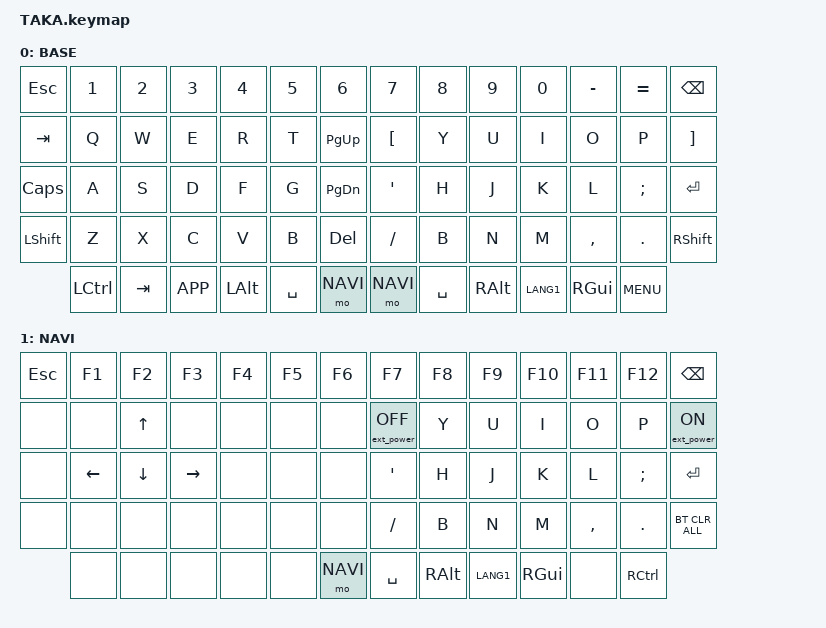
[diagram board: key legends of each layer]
/*
 * Copyright (c) 2022 The ZMK Contributors
 *
 * SPDX-License-Identifier: MIT
 */

#include <behaviors.dtsi>
#include <dt-bindings/zmk/keys.h>
#include <dt-bindings/zmk/bt.h>
#include <dt-bindings/zmk/outputs.h>
#include <dt-bindings/zmk/ext_power.h>

#define BASE 0
#define NAVI 1

/ {
        keymap {
                compatible = "zmk,keymap";
// ▄▄▄▄▄▄▄▄▄▄▄▄▄▄▄▄▄▄▄▄▄▄▄▄▄▄▄▄▄▄▄▄▄▄▄▄▄▄▄▄▄▄▄▄▄▄▄▄▄▄▄▄▄▄▄▄▄▄▄▄▄▄▄▄▄▄▄▄▄▄▄▄▄▄▄▄▄▄▄▄▄▄▄▄▄▄▄▄▄▄▄▄▄▄▄▄▄▄▄▄▄▄▄▄▄▄▄▄▄▄▄▄▄▄▄▄▄▄▄▄▄▄▄▄▄▄▄▄▄▄▄▄▄▄▄▄▄▄▄▄▄▄▄▄▄▄▄▄▄

                base_layer {
// ┏━━━━━━━━━━━━━━━━━━━━━━━━━━━━━━━━━━━━━━━┓
label= "BASE"                              ;
// ┗━━━━━━━━━━━━━━━━━━━━━━━━━━━━━━━━━━━━━━━┛
// ┏━━━━━━━━━━━┳━━━━━━━━━━━┳━━━━━━━━━━━┳━━━━━━━━━━━┳━━━━━━━━━━━┳━━━━━━━━━━━┳━━━━━━━━━━━┓      ┏━━━━━━━━━━━┳━━━━━━━━━━━┳━━━━━━━━━━━┳━━━━━━━━━━━┳━━━━━━━━━━━┳━━━━━━━━━━━┳━━━━━━━━━━━┓
// ┃    ESC    ┃     1     ┃     2     ┃     3     ┃     4     ┃     5     ┃     6     ┃      ┃     7     ┃     8     ┃     9     ┃     0     ┃     -     ┃     =     ┃    BSPC   ┃
// ┣━━━━━━━━━━━╋━━━━━━━━━━━╋━━━━━━━━━━━╋━━━━━━━━━━━╋━━━━━━━━━━━╋━━━━━━━━━━━╋━━━━━━━━━━━┫      ┣━━━━━━━━━━━╋━━━━━━━━━━━╋━━━━━━━━━━━╋━━━━━━━━━━━╋━━━━━━━━━━━╋━━━━━━━━━━━╋━━━━━━━━━━━┫
// ┃    TAB    ┃     Q     ┃     W     ┃     E     ┃     R     ┃     T     ┃   PG_UP   ┃      ┃     [     ┃     Y     ┃     U     ┃     I     ┃     O     ┃     P     ┃     ]     ┃
// ┣━━━━━━━━━━━╋━━━━━━━━━━━╋━━━━━━━━━━━╋━━━━━━━━━━━╋━━━━━━━━━━━╋━━━━━━━━━━━╋━━━━━━━━━━━┫      ┣━━━━━━━━━━━╋━━━━━━━━━━━╋━━━━━━━━━━━╋━━━━━━━━━━━╋━━━━━━━━━━━╋━━━━━━━━━━━╋━━━━━━━━━━━┫
// ┃    CAPS   ┃     A     ┃     S     ┃     D     ┃     F     ┃     G     ┃   PG_DN   ┃      ┃     '     ┃     H     ┃     J     ┃     K     ┃     L     ┃     ;     ┃   ENTER   ┃
// ┣━━━━━━━━━━━╋━━━━━━━━━━━╋━━━━━━━━━━━╋━━━━━━━━━━━╋━━━━━━━━━━━╋━━━━━━━━━━━╋━━━━━━━━━━━┫      ┣━━━━━━━━━━━╋━━━━━━━━━━━╋━━━━━━━━━━━╋━━━━━━━━━━━╋━━━━━━━━━━━╋━━━━━━━━━━━╋━━━━━━━━━━━┫
// ┃   LSHIFT  ┃     Z     ┃     X     ┃     C     ┃     V     ┃     B     ┃    DEL    ┃      ┃     /     ┃     B     ┃     N     ┃     M     ┃     ,     ┃     .     ┃   RSHIFT  ┃
// ┗━━━━━━━━━━━╋━━━━━━━━━━━╋━━━━━━━━━━━╋━━━━━━━━━━━╋━━━━━━━━━━━╋━━━━━━━━━━━╋━━━━━━━━━━━┫      ┣━━━━━━━━━━━╋━━━━━━━━━━━╋━━━━━━━━━━━╋━━━━━━━━━━━╋━━━━━━━━━━━╋━━━━━━━━━━━╋━━━━━━━━━━━┛
//             ┃   LCTRL   ┃    TAB    ┃    K_APP  ┃   LALT    ┃   SPACE   ┃   LAYER   ┃      ┃   LAYER   ┃   SPACE   ┃   RALT    ┃   LANG1   ┃   RGUI    ┃   K_MENU  ┃
//             ┗━━━━━━━━━━━┻━━━━━━━━━━━┻━━━━━━━━━━━┻━━━━━━━━━━━┻━━━━━━━━━━━┻━━━━━━━━━━━┛      ┗━━━━━━━━━━━┻━━━━━━━━━━━┻━━━━━━━━━━━┻━━━━━━━━━━━┻━━━━━━━━━━━┻━━━━━━━━━━━┛
 bindings = <
// ╷           ╷           ╷           ╷           ╷           ╷           ╷           ╷      ╷           ╷           ╷           ╷           ╷           ╷           ╷           ╷

    &kp ESCAPE  &kp N1      &kp N2      &kp N3      &kp N4      &kp N5      &kp N6             &kp N7      &kp N8      &kp N9      &kp N0      &kp MINUS   &kp EQUAL   &kp BSPC
    &kp TAB     &kp Q       &kp W       &kp E       &kp R       &kp T       &kp PG_UP          &kp LBKT    &kp Y       &kp U       &kp I       &kp O       &kp P       &kp RBKT    
    &kp CAPS    &kp A       &kp S       &kp D       &kp F       &kp G       &kp PG_DN          &kp SQT     &kp H       &kp J       &kp K       &kp L       &kp SEMI    &kp ENTER
    &kp LSHIFT  &kp Z       &kp X       &kp C       &kp V       &kp B       &kp DEL            &kp SLASH   &kp B       &kp N       &kp M       &kp COMMA   &kp DOT     &kp RSHIFT
                &kp LCTRL   &kp TAB     &kp K_APP   &kp LALT    &kp SPACE   &mo NAVI           &mo NAVI    &kp SPACE   &kp RALT    &kp LANG1   &kp RGUI    &kp K_MENU
                        >;
                };

// ▄▄▄▄▄▄▄▄▄▄▄▄▄▄▄▄▄▄▄▄▄▄▄▄▄▄▄▄▄▄▄▄▄▄▄▄▄▄▄▄▄▄▄▄▄▄▄▄▄▄▄▄▄▄▄▄▄▄▄▄▄▄▄▄▄▄▄▄▄▄▄▄▄▄▄▄▄▄▄▄▄▄▄▄▄▄▄▄▄▄▄▄▄▄▄▄▄▄▄▄▄▄▄▄▄▄▄▄▄▄▄▄▄▄▄▄▄▄▄▄▄▄▄▄▄▄▄▄▄▄▄▄▄▄▄▄▄▄▄▄▄▄▄▄▄▄▄▄▄


                nav_layer {
// ┏━━━━━━━━━━━━━━━━━━━━━━━━━━━━━━━━━━━━━━━┓
label= "NAVI"                              ;
// ┗━━━━━━━━━━━━━━━━━━━━━━━━━━━━━━━━━━━━━━━┛
// ┏━━━━━━━━━━━┳━━━━━━━━━━━┳━━━━━━━━━━━┳━━━━━━━━━━━┳━━━━━━━━━━━┳━━━━━━━━━━━┳━━━━━━━━━━━┓      ┏━━━━━━━━━━━┳━━━━━━━━━━━┳━━━━━━━━━━━┳━━━━━━━━━━━┳━━━━━━━━━━━┳━━━━━━━━━━━┳━━━━━━━━━━━┓
// ┃    ESC    ┃    F1     ┃    F2     ┃    F3     ┃    F4     ┃    F5     ┃    F6     ┃      ┃    F7     ┃    F8     ┃    F9     ┃    F10    ┃    F11    ┃    F12    ┃    BSPC   ┃
// ┣━━━━━━━━━━━╋━━━━━━━━━━━╋━━━━━━━━━━━╋━━━━━━━━━━━╋━━━━━━━━━━━╋━━━━━━━━━━━╋━━━━━━━━━━━┫      ┣━━━━━━━━━━━╋━━━━━━━━━━━╋━━━━━━━━━━━╋━━━━━━━━━━━╋━━━━━━━━━━━╋━━━━━━━━━━━╋━━━━━━━━━━━┫
// ┃    TAB    ┃     Q     ┃     UP    ┃     E     ┃     R     ┃     T     ┃   PG_UP   ┃      ┃   EP_OFF  ┃     Y     ┃     U     ┃     I     ┃     O     ┃     P     ┃   EP_ON   ┃
// ┣━━━━━━━━━━━╋━━━━━━━━━━━╋━━━━━━━━━━━╋━━━━━━━━━━━╋━━━━━━━━━━━╋━━━━━━━━━━━╋━━━━━━━━━━━┫      ┣━━━━━━━━━━━╋━━━━━━━━━━━╋━━━━━━━━━━━╋━━━━━━━━━━━╋━━━━━━━━━━━╋━━━━━━━━━━━╋━━━━━━━━━━━┫
// ┃    CAPS   ┃   LEFT    ┃    DOWN   ┃   RIGHT   ┃     F     ┃     G     ┃   PG_DN   ┃      ┃     '     ┃     H     ┃     J     ┃     K     ┃     L     ┃     ;     ┃   ENTER   ┃
// ┣━━━━━━━━━━━╋━━━━━━━━━━━╋━━━━━━━━━━━╋━━━━━━━━━━━╋━━━━━━━━━━━╋━━━━━━━━━━━╋━━━━━━━━━━━┫      ┣━━━━━━━━━━━╋━━━━━━━━━━━╋━━━━━━━━━━━╋━━━━━━━━━━━╋━━━━━━━━━━━╋━━━━━━━━━━━╋━━━━━━━━━━━┫
// ┃   LSHIFT  ┃     Z     ┃     X     ┃     C     ┃     V     ┃     B     ┃    DEL    ┃      ┃     /     ┃     B     ┃     N     ┃     M     ┃     ,     ┃     .     ┃   BT_CLR  ┃
// ┗━━━━━━━━━━━╋━━━━━━━━━━━╋━━━━━━━━━━━╋━━━━━━━━━━━╋━━━━━━━━━━━╋━━━━━━━━━━━╋━━━━━━━━━━━┫      ┣━━━━━━━━━━━╋━━━━━━━━━━━╋━━━━━━━━━━━╋━━━━━━━━━━━╋━━━━━━━━━━━╋━━━━━━━━━━━╋━━━━━━━━━━━┛
//             ┃   LCTRL   ┃    TAB    ┃    K_APP  ┃   LALT    ┃   SPACE   ┃   LAYER   ┃      ┃   SPACE   ┃   RALT    ┃   LANG1   ┃   RGUI    ┃    NONE   ┃   RCTRL   ┃
//             ┗━━━━━━━━━━━┻━━━━━━━━━━━┻━━━━━━━━━━━┻━━━━━━━━━━━┻━━━━━━━━━━━┻━━━━━━━━━━━┛      ┗━━━━━━━━━━━┻━━━━━━━━━━━┻━━━━━━━━━━━┻━━━━━━━━━━━┻━━━━━━━━━━━┻━━━━━━━━━━━┛
 bindings = <
// ╷           ╷           ╷           ╷           ╷           ╷           ╷           ╷      ╷           ╷           ╷           ╷           ╷           ╷           ╷           ╷

    &kp ESC     &kp F1      &kp F2      &kp F3      &kp F4      &kp F5      &kp F6             &kp F7      &kp F8      &kp F9      &kp F10     &kp F11     &kp F12     &kp BSPC
    &none       &none       &kp UP      &none       &none       &none       &none              &ext_power EP_OFF  &kp Y       &kp U       &kp I       &kp O       &kp P       &ext_power EP_ON
    &none       &kp LEFT    &kp DOWN    &kp RIGHT   &none       &none       &none              &kp SQT     &kp H       &kp J       &kp K       &kp L       &kp SEMI    &kp ENTER
    &none       &none       &none       &none       &none       &none       &none              &kp FSLH    &kp B       &kp N       &kp M       &kp COMMA   &kp DOT     &bt BT_CLR_ALL
                &none       &none       &none       &none       &none       &mo NAVI           &kp SPACE   &kp RALT    &kp LANG1   &kp RGUI    &none       &kp RCTRL
                        >;
                };
        };
};
